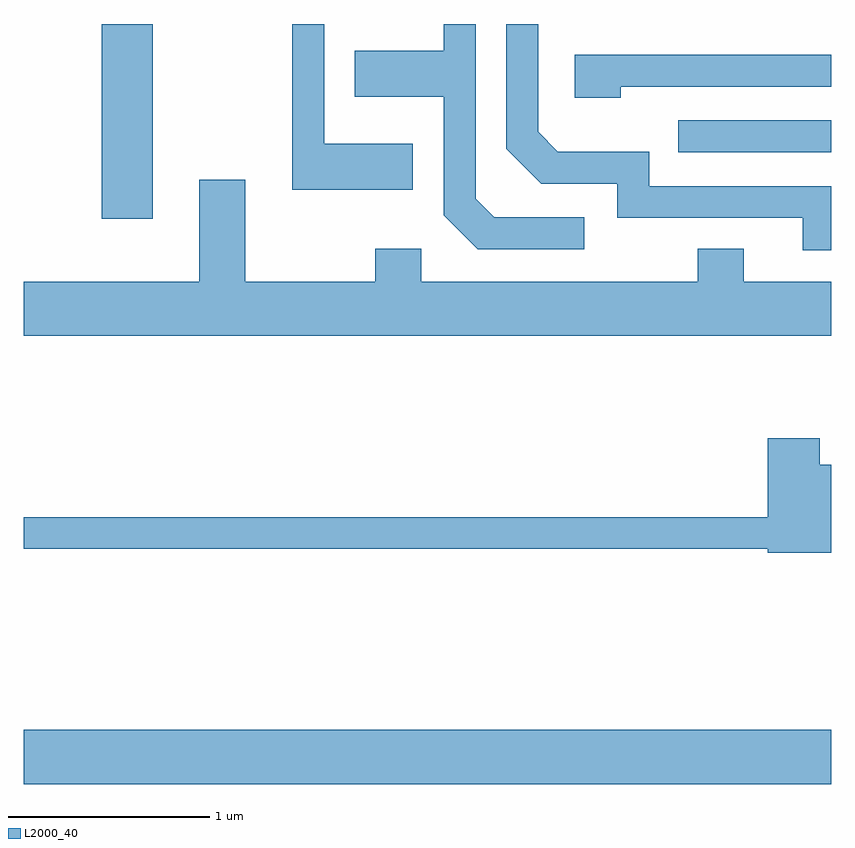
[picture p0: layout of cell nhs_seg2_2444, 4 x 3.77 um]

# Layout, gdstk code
import gdstk
lib = gdstk.Library(unit=1e-6, precision=1e-09)
def R(c, l, rs):  # rectangles x0, y0, x1, y1
    for r in rs: c.add(gdstk.rectangle(r[:2], r[2:], *l))
def P(c, l, *ps):  # polygons
    for p in ps: c.add(gdstk.Polygon(p, *l))
L2000_40 = (2000, 40)

nhs_seg2_2444 = lib.new_cell('nhs_seg2_2444')
R(nhs_seg2_2444, L2000_40, [(255.611,1106.036,259.611,1106.304), (255.996,1108.836,256.249,1109.802), (258.853,1109.166,259.611,1109.324)])
P(nhs_seg2_2444, L2000_40, [(258.388,1108.844),(257.942,1108.844),(257.849,1108.937),(257.849,1109.802),(257.691,1109.802),(257.691,1109.669),(257.251,1109.669),(257.251,1109.441),(257.691,1109.441),(257.691,1108.854),(257.859,1108.686),(258.388,1108.686)],
  [(259.611,1108.999),(258.709,1108.999),(258.709,1109.169),(258.257,1109.169),(258.159,1109.267),(258.159,1109.802),(258.001,1109.802),(258.001,1109.184),(258.174,1109.011),(258.551,1109.011),(258.551,1108.841),(259.471,1108.841),(259.471,1108.681),(259.611,1108.681)],
  [(257.539,1109.209),(257.099,1109.209),(257.099,1109.802),(256.941,1109.802),(256.941,1108.981),(257.539,1108.981)],
  [(258.569,1109.491),(259.611,1109.491),(259.611,1109.649),(258.341,1109.649),(258.341,1109.436),(258.569,1109.436)],
  [(259.611,1108.524),(259.179,1108.524),(259.179,1108.689),(258.951,1108.689),(258.951,1108.524),(257.579,1108.524),(257.579,1108.689),(257.351,1108.689),(257.351,1108.524),(256.709,1108.524),(256.709,1109.029),(256.481,1109.029),(256.481,1108.524),(255.611,1108.524),(255.611,1108.256),(259.611,1108.256)],
  [(259.611,1107.619),(259.554,1107.619),(259.554,1107.749),(259.296,1107.749),(259.296,1107.359),(255.611,1107.359),(255.611,1107.201),(259.296,1107.201),(259.296,1107.181),(259.611,1107.181)])

lib.write_gds('nhs_seg2_2444.gds')
